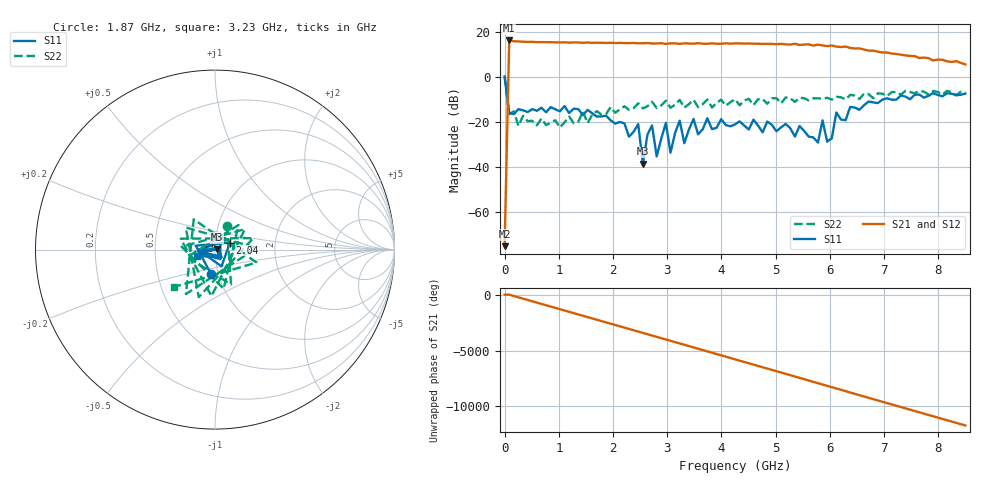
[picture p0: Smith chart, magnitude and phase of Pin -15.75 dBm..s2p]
! RsaToolbox (C) 2013 Rohde & Schwarz America
! Number of points: 101
! Number of ports: 2
! Balanced ports?: 0
# Hz S RI R 50
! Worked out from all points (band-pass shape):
!   101 points, 9 kHz to 8.5 GHz, reference 50 ohm
!   highest |S21| = 16.10 dB at 85.01 MHz (marker M1); lowest = -75.0 dB at 9 kHz (marker M2)
!   |S21| within 3 dB of the highest: 82.21 MHz to 6.332 GHz (6.249 GHz wide, 195 % of centre)
!   lowest |S11| = -38.4 dB at 2.55 GHz (marker M3), VSWR 1.02, Z = 51.2 + j0.209 ohm
!   |S11| at or under -10 dB: 53.65 MHz to 6.98 GHz (6.926 GHz wide, 197 % of centre); 7.121 GHz to 7.23 GHz (108.8 MHz wide, 1.52 % of centre)
!   |S22| runs from -22.4 to 0.2 dB; largest |S21 - S12| = 0
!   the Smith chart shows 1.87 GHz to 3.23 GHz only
!   S11 on the Smith chart (normalised r, x): 1.87 GHz: 0.92, -0.26; 2.04 GHz: 1.18, +0.09; 3.23 GHz: 0.81, -0.06
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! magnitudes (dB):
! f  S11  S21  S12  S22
! 9 kHz  0.2  -75.0  -75.0  0.2
! 85.01 MHz  -15.9  16.1  16.1  -16.6
! 1.02 GHz  -15.3  15.2  15.2  -22.4
! 1.445 GHz  -17.0  15.1  15.1  -15.3
! 1.87 GHz  -17.2  15.0  15.0  -16.6
! 2.04 GHz  -20.7  15.0  15.0  -15.9
! 2.465 GHz  -20.9  14.8  14.8  -11.7
! 2.55 GHz  -38.4  14.9  14.9  -14.0
! 2.72 GHz  -21.5  14.7  14.7  -11.1
! 2.805 GHz  -35.2  14.8  14.8  -13.8
! 2.89 GHz  -27.3  14.9  14.9  -12.7
! 2.975 GHz  -20.4  14.6  14.6  -10.6
! 3.06 GHz  -33.6  14.8  14.8  -13.7
! 3.23 GHz  -19.4  14.6  14.6  -10.2
! 3.315 GHz  -29.4  14.8  14.8  -13.6
! 3.485 GHz  -18.6  14.7  14.7  -10.2
! 3.57 GHz  -25.5  14.9  14.9  -13.4
! 4.25 GHz  -21.1  14.8  14.8  -9.9
! 5.695 GHz  -26.8  13.8  13.8  -9.5
! 6.12 GHz  -15.8  13.4  13.4  -8.8
! 7.14 GHz  -10.1  10.3  10.3  -6.8
! 8.5 GHz  -7.4  5.5  5.5  -6.7
